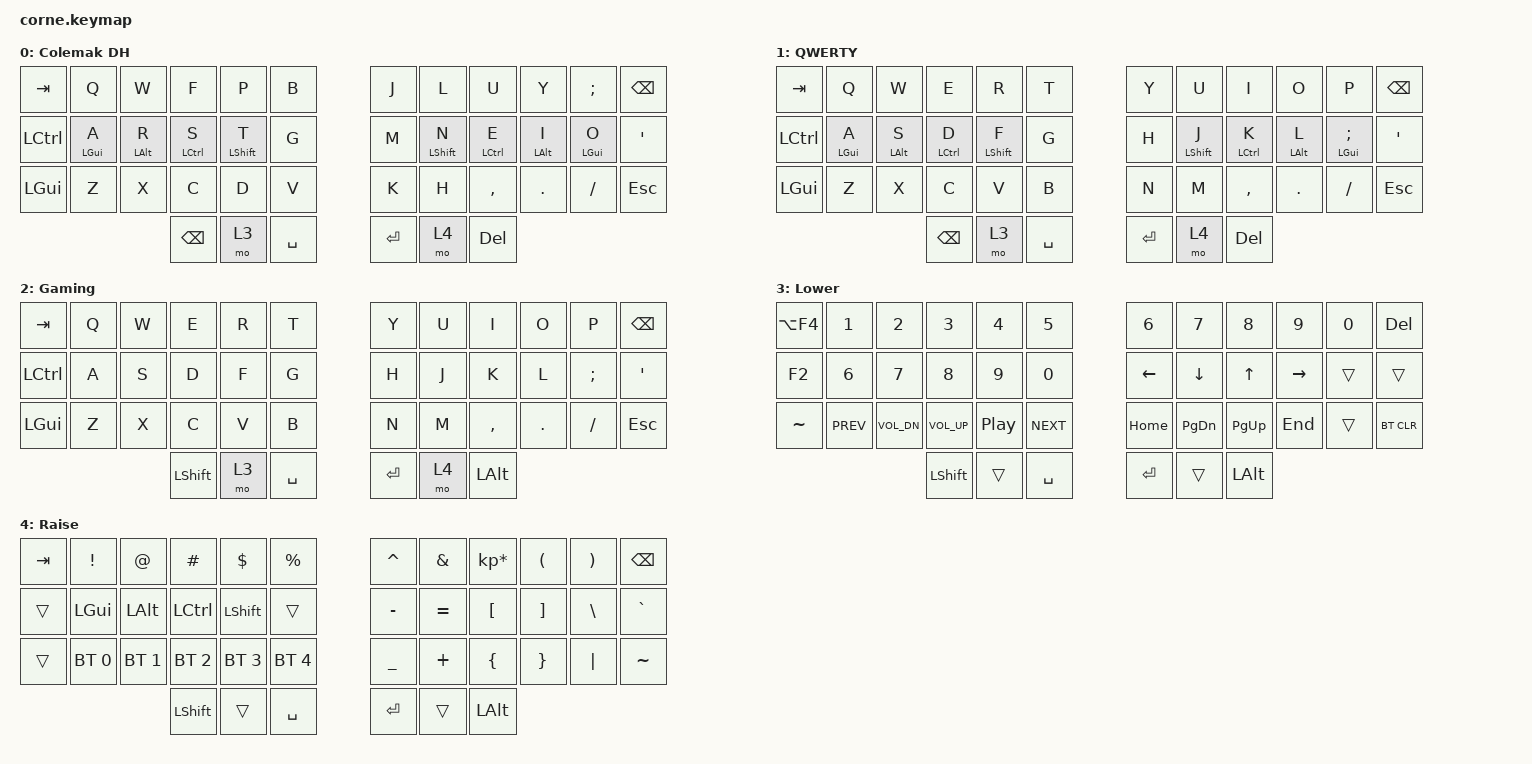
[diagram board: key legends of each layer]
/*
 * Copyright (c) 2020 The ZMK Contributors
 *
 * SPDX-License-Identifier: MIT
 */

#include <behaviors.dtsi>
#include <dt-bindings/zmk/keys.h>
#include <dt-bindings/zmk/bt.h>

/ {
    combos {
        compatible = "zmk,combos";


        toggle_layout {
            timeout-ms = <50>;
            key-positions = <35 24>;
            bindings = <&tog 1>;
        };
        toggle_gaming {
            timeout-ms = <50>;
            key-positions = <37 40>;
            bindings = <&tog 2>;
        };
    };

    behaviors {
        hml: homerow_left {
            compatible = "zmk,behavior-hold-tap";
            flavor = "balanced";
            tapping-term-ms = <280>;
            quick-tap-ms = <175>;
            require-prior-idle-ms = <200>;
            bindings = <&kp>, <&kp>;
            #binding-cells = <2>;
            hold-trigger-key-positions = <6 7 8 9 10 11 18 19 20 21 22 23 30 31 32 33 34 35 36 37 38 39 40 41>;
            hold-trigger-on-release;
        };
        hmr: homerow_right {
            compatible = "zmk,behavior-hold-tap";
            flavor = "balanced";
            tapping-term-ms = <280>;
            quick-tap-ms = <175>;
            require-prior-idle-ms = <200>;
            bindings = <&kp>, <&kp>;
            #binding-cells = <2>;
            hold-trigger-key-positions = <0 1 2 3 4 5 12 13 14 15 16 17 24 25 26 27 28 29 36 37 38 39 40 41>;
            hold-trigger-on-release;
        };
    };
};

/ {
        keymap {
                compatible = "zmk,keymap";

                colemak_dh_layer {
                        display-name = "Colemak DH";
                        bindings = <
   &kp TAB   &kp Q       &kp W             &kp F         &kp P             &kp B            &kp J   &kp L          &kp U            &kp Y         &kp SEMI       &kp BSPC
   &kp LCTRL &hml LGUI A &hml LALT R       &hml LCTRL  S &hml LSHIFT T     &kp G            &kp M   &hmr LSHIFT N  &hmr LCTRL E     &hmr LALT I   &hmr LGUI O    &kp SQT
   &kp LGUI  &kp Z       &kp X             &kp C         &kp D             &kp V            &kp K   &kp H          &kp COMMA        &kp DOT       &kp FSLH       &kp ESC
                                           &kp BSPC      &mo 3             &kp SPACE        &kp RET &mo 4          &kp DEL
                        >;
                };

                qwerty_layer {
                        display-name = "QWERTY";
                        bindings = <
   &kp TAB   &kp Q       &kp W             &kp E         &kp R             &kp T            &kp Y   &kp U          &kp I            &kp O         &kp P          &kp BSPC
   &kp LCTRL &hml LGUI A &hml LALT S       &hml LCTRL  D &hml LSHIFT F     &kp G            &kp H   &hmr LSHIFT J  &hmr LCTRL K     &hmr LALT L   &hmr LGUI SEMI &kp SQT
   &kp LGUI  &kp Z       &kp X             &kp C         &kp V             &kp B            &kp N   &kp M          &kp COMMA        &kp DOT       &kp FSLH       &kp ESC
                                           &kp BSPC      &mo 3             &kp SPACE        &kp RET &mo 4          &kp DEL
                        >;
                };

                gaming_layer {
                        display-name = "Gaming";
                        bindings = <
   &kp TAB   &kp Q      &kp W            &kp E        &kp R            &kp T            &kp Y   &kp U         &kp I           &kp O        &kp P         &kp BSPC
   &kp LCTRL &kp A      &kp S            &kp D        &kp F            &kp G            &kp H   &kp J         &kp K           &kp L        &kp SEMI      &kp SQT
   &kp LGUI  &kp Z      &kp X            &kp C        &kp V            &kp B            &kp N   &kp M         &kp COMMA       &kp DOT      &kp FSLH      &kp ESC
                                         &kp LSHIFT   &mo 3            &kp SPACE        &kp RET &mo 4         &kp LALT
                        >;
                };

                lower_layer {
                        display-name = "Lower";
                        bindings = <
   &kp LA(F4) &kp N1     &kp N2       &kp N3       &kp N4     &kp N5     &kp N6   &kp N7    &kp N8    &kp N9    &kp N0 &kp DEL
   &kp F2     &kp N6     &kp N7       &kp N8       &kp N9     &kp N0     &kp LEFT &kp DOWN  &kp UP    &kp RIGHT &trans &trans
   &kp TILDE  &kp C_PREV &kp C_VOL_DN &kp C_VOL_UP &kp C_PP   &kp C_NEXT &kp HOME &kp PG_DN &kp PG_UP &kp END   &trans &bt BT_CLR
                      	           &kp LSHIFT   &trans     &kp SPACE  &kp RET  &trans    &kp LALT
                        >;
                };

                raise_layer {
                        display-name = "Raise";
                        bindings = <
   &kp TAB   &kp EXCL     &kp AT       &kp HASH     &kp DLLR     &kp PRCNT         &kp CARET &kp AMPS  &kp KP_MULTIPLY &kp LPAR &kp RPAR &kp BSPC
   &trans    &kp LGUI     &kp LALT     &kp LCTRL    &kp LSHIFT   &trans            &kp MINUS &kp EQUAL &kp LBKT        &kp RBKT &kp BSLH &kp GRAVE
   &trans    &bt BT_SEL 0 &bt BT_SEL 1 &bt BT_SEL 2 &bt BT_SEL 3 &bt BT_SEL 4      &kp UNDER &kp PLUS  &kp LBRC        &kp RBRC &kp PIPE &kp TILDE
                    	               &kp LSHIFT   &trans       &kp SPACE         &kp RET   &trans    &kp LALT
                        >;
                };
        };
};
